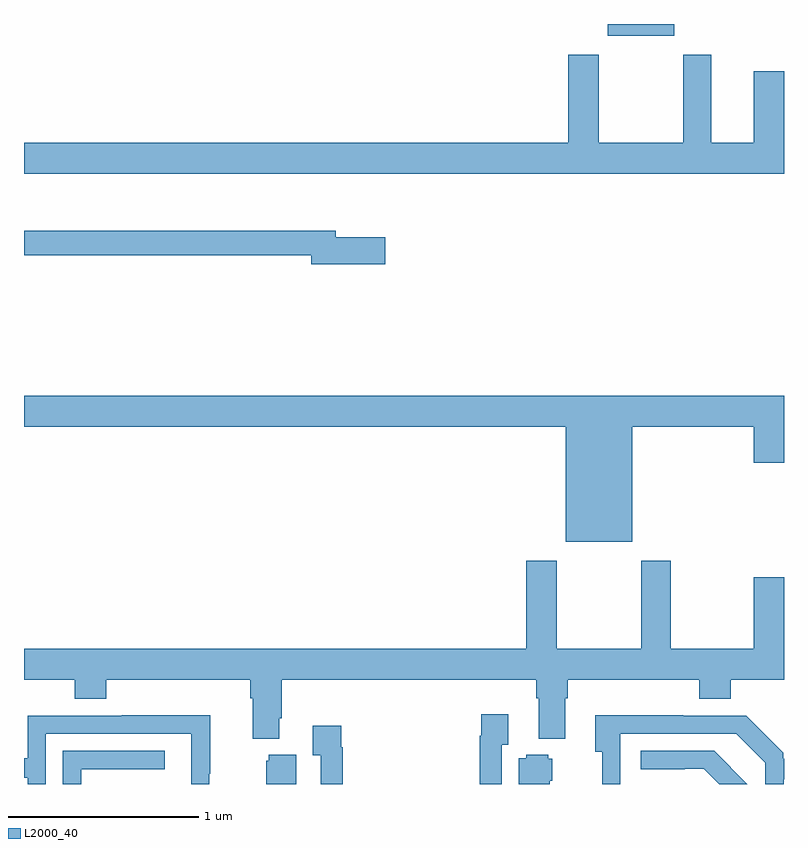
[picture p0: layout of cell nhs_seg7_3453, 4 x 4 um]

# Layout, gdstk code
import gdstk
lib = gdstk.Library(unit=1e-6, precision=1e-09)
def R(c, l, rs):  # rectangles x0, y0, x1, y1
    for r in rs: c.add(gdstk.rectangle(r[:2], r[2:], *l))
def P(c, l, *ps):  # polygons
    for p in ps: c.add(gdstk.Polygon(p, *l))
L2000_40 = (2000, 40)

nhs_seg7_3453 = lib.new_cell('nhs_seg7_3453')
R(nhs_seg7_3453, L2000_40, [(332.072,1071.938,332.422,1072)])
P(nhs_seg7_3453, L2000_40, [(333,1071.751),(332.84,1071.751),(332.84,1071.376),(332.617,1071.376),(332.617,1071.838),(332.47,1071.838),(332.47,1071.376),(332.025,1071.376),(332.025,1071.838),(331.865,1071.838),(331.865,1071.376),(329,1071.376),(329,1071.212),(333,1071.212)],
  [(330.901,1070.877),(330.64,1070.877),(330.64,1070.911),(329,1070.911),(329,1070.782),(330.512,1070.782),(330.512,1070.735),(330.901,1070.735)],
  [(332.2,1069.88),(332.84,1069.88),(332.84,1069.692),(333,1069.692),(333,1070.044),(329,1070.044),(329,1069.88),(331.85,1069.88),(331.85,1069.274),(332.2,1069.274)],
  [(330.343,1068.346),(330.356,1068.346),(330.356,1068.548),(331.697,1068.548),(331.697,1068.452),(331.709,1068.452),(331.709,1068.239),(331.849,1068.239),(331.849,1068.452),(331.862,1068.452),(331.862,1068.548),(332.555,1068.548),(332.555,1068.449),(332.72,1068.449),(332.72,1068.548),(333,1068.548),(333,1069.087),(332.84,1069.087),(332.84,1068.712),(332.403,1068.712),(332.403,1069.174),(332.248,1069.174),(332.248,1068.712),(331.803,1068.712),(331.803,1069.174),(331.643,1069.174),(331.643,1068.712),(329,1068.712),(329,1068.548),(329.267,1068.548),(329.267,1068.449),(329.432,1068.449),(329.432,1068.548),(330.191,1068.548),(330.191,1068.452),(330.203,1068.452),(330.203,1068.239),(330.343,1068.239)],
  [(331.515,1068.206),(331.549,1068.206),(331.549,1068.367),(331.407,1068.367),(331.407,1068.254),(331.399,1068.254),(331.399,1068),(331.515,1068)],
  [(332.139,1068.264),(332.748,1068.264),(332.901,1068.111),(332.901,1068),(332.998,1068),(332.998,1068.024),(333,1068.024),(333,1068.133),(332.997,1068.133),(332.997,1068.165),(332.802,1068.36),(332.471,1068.36),(332.471,1068.362),(332.006,1068.362),(332.006,1068.17),(332.043,1068.17),(332.043,1068),(332.139,1068)],
  [(329.115,1068.264),(329.88,1068.264),(329.88,1068),(329.976,1068),(329.976,1068.055),(329.979,1068.055),(329.979,1068.362),(329.515,1068.362),(329.515,1068.36),(329.019,1068.36),(329.019,1068.135),(329,1068.135),(329,1068.034),(329.019,1068.034),(329.019,1068),(329.115,1068)],
  [(330.677,1068.194),(330.67,1068.194),(330.67,1068.307),(330.521,1068.307),(330.521,1068.151),(330.561,1068.151),(330.561,1068),(330.677,1068)],
  [(332.632,1068.174),(332.247,1068.174),(332.247,1068.078),(332.477,1068.078),(332.477,1068.081),(332.577,1068.081),(332.658,1068),(332.806,1068)],
  [(329.301,1068.078),(329.74,1068.078),(329.74,1068.174),(329.205,1068.174),(329.205,1068),(329.301,1068)],
  [(330.433,1068.154),(330.287,1068.154),(330.287,1068.123),(330.275,1068.123),(330.275,1068),(330.433,1068)],
  [(331.768,1068.018),(331.78,1068.018),(331.78,1068.132),(331.758,1068.132),(331.758,1068.154),(331.644,1068.154),(331.644,1068.136),(331.604,1068.136),(331.604,1068),(331.768,1068)])

lib.write_gds('nhs_seg7_3453.gds')
